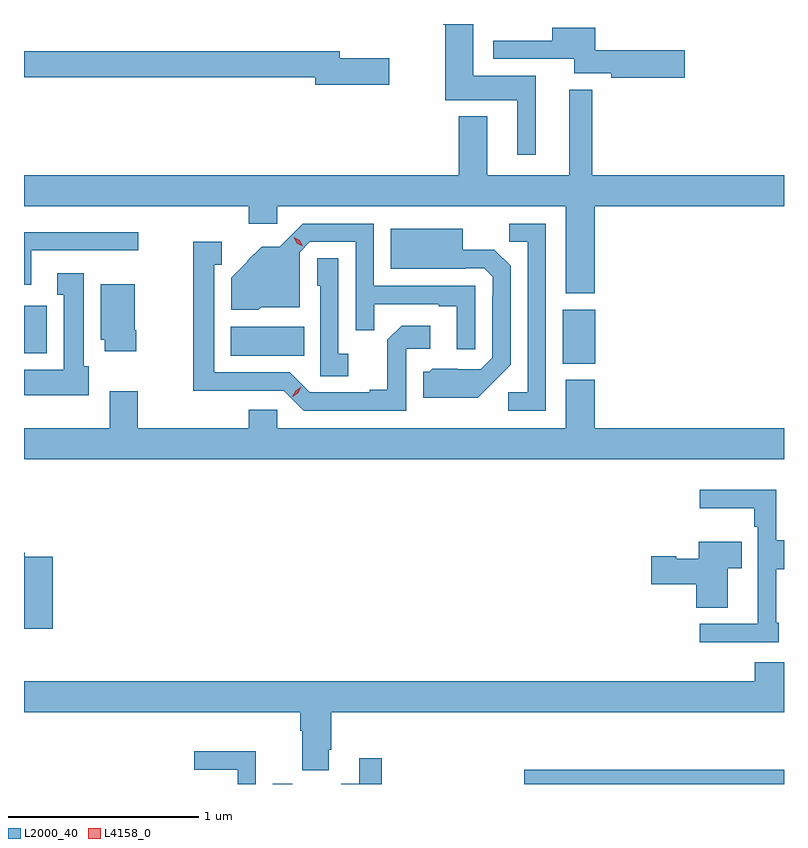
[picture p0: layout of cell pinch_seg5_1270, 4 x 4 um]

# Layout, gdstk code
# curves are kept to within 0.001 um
import gdstk
lib = gdstk.Library(unit=1e-6, precision=1e-09)
def R(c, l, rs):  # rectangles x0, y0, x1, y1
    for r in rs: c.add(gdstk.rectangle(r[:2], r[2:], *l))
def P(c, l, *ps):  # polygons
    for p in ps: c.add(gdstk.Polygon(p, *l))
L2000_40 = (2000, 40)
L4158_0 = (4158, 0)

pinch_seg5_1270 = lib.new_cell('pinch_seg5_1270')
R(pinch_seg5_1270, L2000_40, [(376.685,852.387,376.789,852.388), (378.008,852.387,379.376,852.463), (378.212,854.6,378.382,854.884), (376.463,854.642,376.85,854.794), (375.376,854.654,375.495,854.905)])
P(pinch_seg5_1270, L2000_40, [(378.07,856.114),(377.74,856.114),(377.74,856.387),(377.582,856.387),(377.582,856.382),(377.594,856.382),(377.594,855.986),(377.972,855.986),(377.972,855.699),(378.07,855.699)],
  [(378.853,856.25),(378.382,856.25),(378.382,856.366),(378.155,856.366),(378.155,856.299),(377.847,856.299),(377.847,856.203),(378.272,856.203),(378.272,856.127),(378.468,856.127),(378.468,856.103),(378.853,856.103)],
  [(377.299,856.208),(377.038,856.208),(377.038,856.244),(375.376,856.244),(375.376,856.108),(376.91,856.108),(376.91,856.066),(377.299,856.066)],
  [(378.38,855.428),(379.376,855.428),(379.376,855.592),(378.367,855.592),(378.367,856.042),(378.245,856.042),(378.245,855.592),(377.815,855.592),(377.815,855.901),(377.663,855.901),(377.663,855.592),(375.376,855.592),(375.376,855.428),(376.559,855.428),(376.559,855.335),(376.71,855.335),(376.71,855.428),(378.227,855.428),(378.227,854.969),(378.38,854.969)],
  [(378.123,855.336),(377.931,855.336),(377.931,855.241),(378.027,855.241),(378.027,854.448),(377.925,854.448),(377.925,854.352),(378.123,854.352)],
  [(377.751,855.009),(377.217,855.009),(377.217,855.336),(376.844,855.336),(376.722,855.214),(376.626,855.214),(376.552,855.14),(376.554,855.139),(376.466,855.051),(376.466,854.882),(376.61,854.882),(376.625,854.897),(376.827,854.897),(376.827,855.186),(376.881,855.24),(377.121,855.24),(377.121,854.774),(377.219,854.774),(377.219,854.913),(377.558,854.913),(377.558,854.901),(377.654,854.901),(377.654,854.676),(377.751,854.676)],
  [(377.845,854.501),(377.937,854.594),(377.937,855.114),(377.851,855.2),(377.686,855.2),(377.686,855.31),(377.306,855.31),(377.306,855.098),(377.699,855.098),(377.699,855.102),(377.799,855.102),(377.844,855.057),(377.844,854.957),(377.841,854.957),(377.841,854.631),(377.781,854.571),(377.524,854.572),(377.508,854.556),(377.477,854.556),(377.477,854.42),(377.765,854.42)],
  [(375.415,855.195),(375.976,855.195),(375.976,855.292),(375.376,855.292),(375.376,855.014),(375.415,855.014)],
  [(377.388,854.679),(377.515,854.679),(377.515,854.8),(377.364,854.8),(377.289,854.726),(377.289,854.461),(377.195,854.461),(377.195,854.448),(376.88,854.448),(376.775,854.553),(376.378,854.553),(376.378,855.12),(376.416,855.12),(376.416,855.241),(376.267,855.241),(376.267,854.456),(376.743,854.457),(376.848,854.352),(377.388,854.352)],
  [(377.083,854.652),(377.031,854.652),(377.031,855.154),(376.92,855.154),(376.92,855.009),(376.935,855.009),(376.935,854.533),(377.083,854.533)],
  [(375.718,854.586),(375.691,854.586),(375.691,855.076),(375.551,855.076),(375.551,854.963),(375.584,854.963),(375.584,854.566),(375.376,854.566),(375.376,854.432),(375.718,854.432)],
  [(375.966,854.776),(375.958,854.776),(375.958,855.016),(375.779,855.016),(375.779,854.724),(375.8,854.724),(375.8,854.664),(375.966,854.664)],
  [(379.376,854.26),(378.38,854.26),(378.38,854.515),(378.227,854.515),(378.227,854.26),(376.71,854.26),(376.71,854.358),(376.559,854.358),(376.559,854.26),(375.975,854.26),(375.975,854.455),(375.827,854.455),(375.827,854.26),(375.376,854.26),(375.376,854.096),(379.376,854.096)],
  [(379.348,853.237),(379.335,853.237),(379.335,853.516),(379.376,853.516),(379.376,853.671),(379.335,853.671),(379.335,853.936),(378.933,853.936),(378.933,853.838),(379.219,853.838),(379.219,853.742),(379.239,853.742),(379.239,853.427),(379.238,853.427),(379.238,853.23),(378.933,853.23),(378.933,853.134),(379.348,853.134)],
  [(379.081,853.523),(379.154,853.523),(379.154,853.663),(378.926,853.663),(378.926,853.573),(378.81,853.573),(378.81,853.586),(378.678,853.586),(378.678,853.439),(378.914,853.439),(378.914,853.315),(379.081,853.315)],
  [(375.527,853.584),(375.38,853.584),(375.38,853.604),(375.376,853.604),(375.376,853.203),(375.527,853.203)],
  [(376.981,852.568),(376.994,852.568),(376.994,852.764),(379.376,852.764),(379.376,853.027),(379.223,853.027),(379.223,852.928),(375.376,852.928),(375.376,852.764),(376.829,852.764),(376.829,852.668),(376.841,852.668),(376.841,852.46),(376.981,852.46)],
  [(376.596,852.56),(376.272,852.56),(376.272,852.462),(376.5,852.462),(376.5,852.387),(376.596,852.387)],
  [(377.258,852.523),(377.141,852.523),(377.141,852.388),(377.045,852.388),(377.045,852.387),(377.258,852.387)])
P(pinch_seg5_1270, L4158_0, [(376.842,855.218),(376.812,855.234),(376.796,855.264),(376.796,855.265),(376.797,855.265),(376.826,855.248),(376.842,855.218),(376.842,855.218)],
  [(376.789,854.425),(376.789,854.426),(376.805,854.458),(376.835,854.477),(376.836,854.477),(376.836,854.477),(376.82,854.445),(376.79,854.425)])

lib.write_gds('pinch_seg5_1270.gds')
